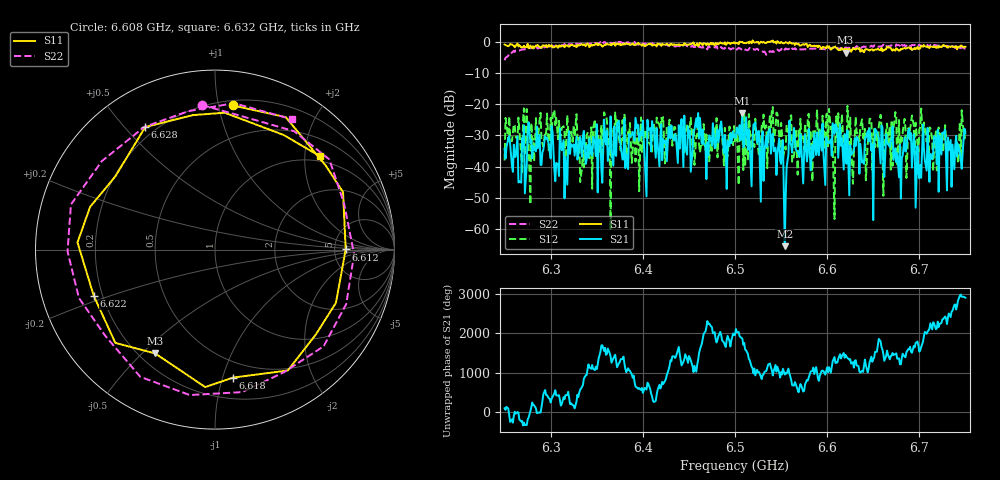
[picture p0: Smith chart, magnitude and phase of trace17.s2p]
# Hz S RI R 50
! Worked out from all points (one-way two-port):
!   401 points, 6.25 GHz to 6.75 GHz, reference 50 ohm
!   highest |S21| = -22.85 dB at 6.508 GHz (marker M1); lowest = -65.4 dB at 6.554 GHz (marker M2)
!   lowest |S11| = -3.5 dB at 6.62 GHz (marker M3), VSWR 5.02, Z = 13.1 - j27.4 ohm
!   |S11| at or under -10 dB: nowhere
!   |S22| runs from -6.0 to -0.1 dB; largest |S21 - S12| = 0.11
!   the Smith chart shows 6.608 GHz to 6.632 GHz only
!   S11 on the Smith chart (normalised r, x): 6.608 GHz: 0.24, +1.10; 6.612 GHz: 6.36, +0.02; 6.618 GHz: 0.37, -1.08; 6.622 GHz: 0.17, -0.18; 6.628 GHz: 0.16, +0.57; 6.632 GHz: 0.88, +2.36
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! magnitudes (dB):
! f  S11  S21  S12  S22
! 6.25 GHz  -1.0  -34.4  -38.0  -6.0
! 6.304 GHz  -1.8  -41.1  -21.8  -1.4
! 6.334 GHz  -0.9  -36.8  -40.3  -0.7
! 6.36 GHz  -1.0  -32.9  -23.7  -0.9
! 6.366 GHz  -1.2  -35.2  -28.0  -0.5
! 6.418 GHz  -0.9  -39.9  -26.6  -0.8
! 6.5 GHz  -0.7  -30.8  -32.2  -2.2
! 6.508 GHz  -0.1  -22.8  -28.4  -2.7
! 6.539 GHz  0.1  -35.8  -27.4  -3.3
! 6.554 GHz  -0.5  -65.4  -33.8  -2.7
! 6.561 GHz  -0.5  -33.1  -23.6  -2.8
! 6.584 GHz  -1.5  -33.1  -44.7  -2.4
! 6.608 GHz  -1.8  -29.5  -56.8  -1.8
! 6.612 GHz  -2.8  -37.2  -22.9  -2.3
! 6.618 GHz  -2.9  -40.9  -34.3  -2.1
! 6.62 GHz  -3.5  -35.0  -36.4  -1.7
! 6.622 GHz  -2.8  -28.4  -20.6  -2.2
! 6.628 GHz  -2.1  -35.4  -45.5  -1.9
! 6.632 GHz  -2.1  -30.5  -29.3  -1.5
! 6.668 GHz  -1.9  -33.8  -27.1  -1.5
! 6.699 GHz  -2.4  -41.7  -35.3  -1.3
! 6.75 GHz  -1.7  -29.5  -28.5  -2.1
